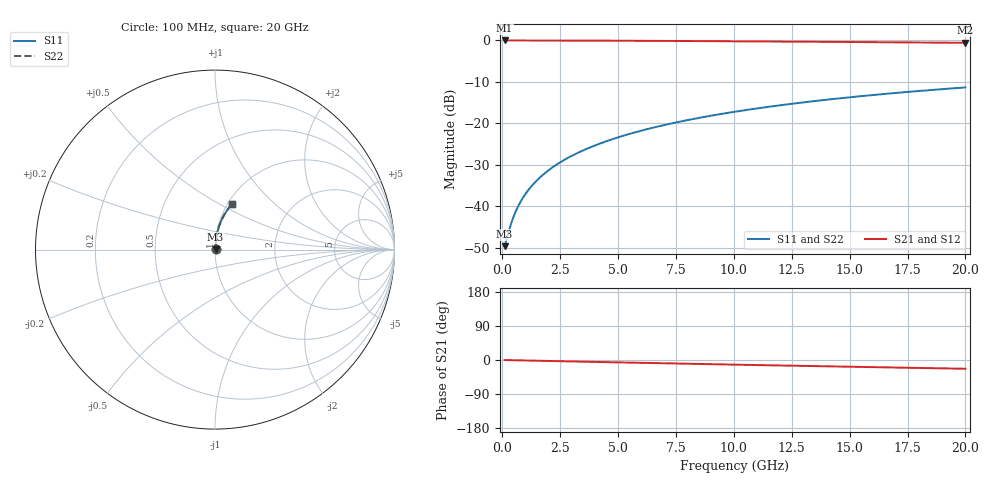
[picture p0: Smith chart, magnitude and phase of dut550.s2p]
! Touchstone file exported from HFSS 2024.1.0
!  File:  C:/UserFiles/LocalFiles/RDL_TSV_Batchsim/temp_RDL_bottom_550_1779689295.aedt
!  Generated:  02:11:07 PM May 25, 2026
!  Design:  RDL_bottom
!  Project:  temp_RDL_bottom_550_1779689295
!  Setup:  Setup1
!  Solution:  Sweep
! Variables:
!  dtsv = 10.80580581um
!  hbump = 3um
!  htsv = 80.23um
!  ldown = 284.81um
!  lrdl = 100um
!  p = 40
!  p1 = 41.1um
!  rhole = 1um
!  t = 450um
!  tdown = 2.51um
!  trdl = 3.915915916um
!  wdown = 14.48um
!  wrdl = 20um
# GHz S MA R 50.000000
! Terminal data exported
! Port[1] = RDL1_T1
! Port[2] = RDL1_T2
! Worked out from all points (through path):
!   200 points, 100 MHz to 20 GHz, reference 50 ohm
!   highest |S21| = -0.03 dB at 100 MHz (marker M1); lowest = -0.6 dB at 20 GHz (marker M2)
!   group delay of S21, straight-line fit = 3.2 ps
!   lowest |S11| = -49.6 dB at 100 MHz (marker M3), VSWR 1.01, Z = 50.3 + j0.144 ohm
!   |S11| at or under -10 dB: start of sweep to end of sweep
!   |S22| runs from -49.6 to -11.3 dB; largest |S21 - S12| = 2.1e-15
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0.1  0.003328 25.4  0.997 -0.1  0.997 -0.1  0.003328 25.4
! Gamma 0 0 0 0
! Port Impedance 50 0 50 0
0.3  0.005262 53.8  0.9969 -0.4  0.9969 -0.4  0.005261 53.8
0.4  0.006463 60.6  0.9968 -0.5  0.9968 -0.5  0.006462 60.6
0.5  0.007711 65.1  0.9967 -0.7  0.9967 -0.7  0.00771 65.1
0.6  0.008981 68.3  0.9966 -0.8  0.9966 -0.8  0.00898 68.3
0.7  0.01026 70.7  0.9965 -0.9  0.9965 -0.9  0.01026 70.7
0.9  0.01285 74.1  0.9964 -1.2  0.9964 -1.2  0.01285 74.1
1.2  0.01676 77.2  0.9961 -1.5  0.9961 -1.5  0.01676 77.2
1.4  0.01938 78.6  0.9959 -1.8  0.9959 -1.8  0.01938 78.6
1.7  0.02334 80.1  0.9956 -2.2  0.9956 -2.2  0.02334 80.1
2.2  0.02999 81.6  0.995 -2.8  0.995 -2.8  0.02999 81.6
2.8  0.03803 82.5  0.9942 -3.6  0.9942 -3.6  0.03803 82.6
3.5  0.04748 83.1  0.9931 -4.4  0.9931 -4.4  0.04748 83.1
4.2  0.057 83.2  0.9917 -5.3  0.9917 -5.3  0.057 83.2
5  0.06796 83.1  0.9899 -6.3  0.9899 -6.3  0.06796 83.2
5.9  0.08038 82.8  0.9876 -7.4  0.9876 -7.4  0.08039 82.8
6.8  0.09288 82.3  0.9851 -8.5  0.9851 -8.5  0.09289 82.3
8.3  0.1138 81.2  0.9805 -10.2  0.9805 -10.2  0.1138 81.3
10.1  0.139 79.6  0.9743 -12.3  0.9743 -12.3  0.139 79.7
13.4  0.1846 76.3  0.9619 -16.0  0.9619 -16.0  0.1847 76.4
16.7  0.2289 72.8  0.9483 -19.6  0.9483 -19.6  0.229 72.9
20  0.2712 69.3  0.9338 -23.1  0.9338 -23.1  0.2713 69.4
